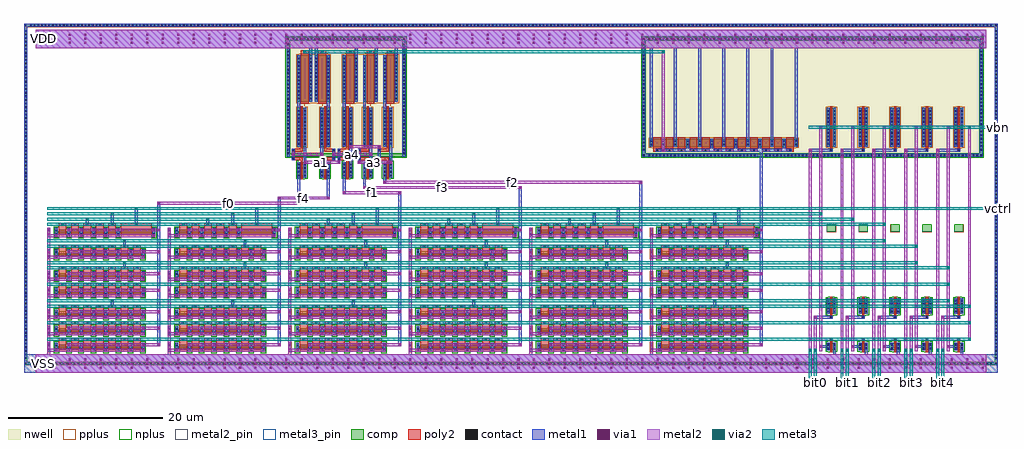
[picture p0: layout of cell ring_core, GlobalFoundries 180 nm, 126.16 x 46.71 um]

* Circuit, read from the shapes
.subckt ring_core VDD VSS a0 a1 a2 a3 a4 bit0 bit1 bit2 bit3 bit4 bitb0 bitb1 bitb2 bitb3 bitb4 f0 f1 f2 f3 f4 vbn vctrl
XM1 f0 vbn VSS VSS nfet_03v3 w=0.25u l=1u m=16
XM2 f0 n1 VSS VSS nfet_03v3 w=0.25u l=1u m=16
XM3 f0 n2 VSS VSS nfet_03v3 w=0.25u l=1u m=8
XM4 f0 n3 VSS VSS nfet_03v3 w=0.25u l=1u m=4
XM5 f0 n4 VSS VSS nfet_03v3 w=0.25u l=1u m=2
XM6 f0 n5 VSS VSS nfet_03v3 w=0.25u l=1u
XM7 VSS vctrl f0 VSS nfet_03v3 w=0.25u l=4u
XM8 f4 vbn VSS VSS nfet_03v3 w=0.25u l=1u m=16
XM9 f4 n1 VSS VSS nfet_03v3 w=0.25u l=1u m=16
XM10 f4 n2 VSS VSS nfet_03v3 w=0.25u l=1u m=8
XM11 f4 n3 VSS VSS nfet_03v3 w=0.25u l=1u m=4
XM12 f4 n4 VSS VSS nfet_03v3 w=0.25u l=1u m=2
XM13 f4 n5 VSS VSS nfet_03v3 w=0.25u l=1u
XM14 VSS vctrl f4 VSS nfet_03v3 w=0.25u l=4u
XM15 f1 vbn VSS VSS nfet_03v3 w=0.25u l=1u m=16
XM16 f1 n1 VSS VSS nfet_03v3 w=0.25u l=1u m=16
XM17 f1 n2 VSS VSS nfet_03v3 w=0.25u l=1u m=8
XM18 f1 n3 VSS VSS nfet_03v3 w=0.25u l=1u m=4
XM19 a1 a0 f0 VSS nfet_03v3 w=2u l=0.28u
XM20 f4 a4 a0 VSS nfet_03v3 w=2u l=0.28u
XM21 f1 n4 VSS VSS nfet_03v3 w=0.25u l=1u m=2
XM22 a2 a1 f1 VSS nfet_03v3 w=2u l=0.28u
XM23 f1 n5 VSS VSS nfet_03v3 w=0.25u l=1u
XM24 VSS vctrl f1 VSS nfet_03v3 w=0.25u l=4u
XM25 a4 a3 f3 VSS nfet_03v3 w=2u l=0.28u
XM26 a3 a2 f2 VSS nfet_03v3 w=2u l=0.28u
XM27 f3 vbn VSS VSS nfet_03v3 w=0.25u l=1u m=16
XM28 f3 n1 VSS VSS nfet_03v3 w=0.25u l=1u m=16
XM29 f3 n2 VSS VSS nfet_03v3 w=0.25u l=1u m=8
XM30 f3 n3 VSS VSS nfet_03v3 w=0.25u l=1u m=4
XM31 f3 n4 VSS VSS nfet_03v3 w=0.25u l=1u m=2
XM32 f3 n5 VSS VSS nfet_03v3 w=0.25u l=1u
XM33 VSS vctrl f3 VSS nfet_03v3 w=0.25u l=4u
XM34 f2 vbn VSS VSS nfet_03v3 w=0.25u l=1u m=16
XM35 f2 n1 VSS VSS nfet_03v3 w=0.25u l=1u m=16
XM36 f2 n2 VSS VSS nfet_03v3 w=0.25u l=1u m=8
XM37 f2 n3 VSS VSS nfet_03v3 w=0.25u l=1u m=4
XM38 f2 n4 VSS VSS nfet_03v3 w=0.25u l=1u m=2
XM39 f2 n5 VSS VSS nfet_03v3 w=0.25u l=1u
XM40 VSS vctrl f2 VSS nfet_03v3 w=0.25u l=4u
XM41 ring_master_10/vbp vbn VSS VSS nfet_03v3 w=0.25u l=1u m=16
XM42 ring_master_10/vbp n1 VSS VSS nfet_03v3 w=0.25u l=1u m=16
XM43 ring_master_10/vbp n2 VSS VSS nfet_03v3 w=0.25u l=1u m=8
XM44 ring_master_10/vbp n3 VSS VSS nfet_03v3 w=0.25u l=1u m=4
XM45 ring_master_10/vbp n4 VSS VSS nfet_03v3 w=0.25u l=1u m=2
XM46 ring_master_10/vbp n5 VSS VSS nfet_03v3 w=0.25u l=1u
XM47 VSS vctrl ring_master_10/vbp VSS nfet_03v3 w=0.25u l=4u
XM48 VSS bitb0 n5 VSS nfet_03v3 w=1u l=0.28u
XM49 vbn bit0 n5 VSS nfet_03v3 w=2u l=0.28u
XM50 VSS bitb1 n4 VSS nfet_03v3 w=1u l=0.28u
XM51 vbn bit1 n4 VSS nfet_03v3 w=2u l=0.28u
XM52 VSS bitb2 n3 VSS nfet_03v3 w=1u l=0.28u
XM53 vbn bit2 n3 VSS nfet_03v3 w=2u l=0.28u
XM54 VSS bitb3 n2 VSS nfet_03v3 w=1u l=0.28u
XM55 vbn bit3 n2 VSS nfet_03v3 w=2u l=0.28u
XM56 VSS bitb4 n1 VSS nfet_03v3 w=1u l=0.28u
XM57 vbn bit4 n1 VSS nfet_03v3 w=2u l=0.28u
XM58 a1 a0 n6 VDD pfet_03v3 w=5u l=0.28u
XM59 VDD ring_master_10/vbp n6 VDD pfet_03v3 w=6u l=1u
XM60 n7 ring_master_10/vbp VDD VDD pfet_03v3 w=6u l=1u
XM61 n7 a4 a0 VDD pfet_03v3 w=5u l=0.28u
XM62 a2 a1 n8 VDD pfet_03v3 w=5u l=0.28u
XM63 VDD ring_master_10/vbp n8 VDD pfet_03v3 w=6u l=1u
XM64 a4 a3 n9 VDD pfet_03v3 w=5u l=0.28u
XM65 VDD ring_master_10/vbp n9 VDD pfet_03v3 w=6u l=1u
XM66 a3 a2 n10 VDD pfet_03v3 w=5u l=0.28u
XM67 VDD ring_master_10/vbp n10 VDD pfet_03v3 w=6u l=1u
XM68 ring_master_10/vbp ring_master_10/vbp VDD VDD pfet_03v3 w=1u l=1u m=12
XM69 vbn bitb0 n5 VDD pfet_03v3 w=5u l=0.28u
XM70 vbn bitb1 n4 VDD pfet_03v3 w=5u l=0.28u
XM71 vbn bitb2 n3 VDD pfet_03v3 w=5u l=0.28u
XM72 vbn bitb3 n2 VDD pfet_03v3 w=5u l=0.28u
XM73 vbn bitb4 n1 VDD pfet_03v3 w=5u l=0.28u
.ends

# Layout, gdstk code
import gdstk
lib = gdstk.Library(unit=1e-6, precision=1e-09)
def R(c, l, rs):  # rectangles x0, y0, x1, y1
    for r in rs: c.add(gdstk.rectangle(r[:2], r[2:], *l))
def A(c, l, x, y, w, h, nx, ny, dx, dy):  # array of equal rectangles
    R(c, l, [(x+i*dx, y+j*dy, x+i*dx+w, y+j*dy+h) for i in range(nx) for j in range(ny)])
nwell = (21, 0)
comp = (22, 0)
poly2 = (30, 0)
pplus = (31, 0)
nplus = (32, 0)
contact = (33, 0)
metal1 = (34, 0)
via1 = (35, 0)
metal2 = (36, 0)
metal2_pin = (36, 10)
via2 = (38, 0)
metal3 = (42, 0)
metal3_pin = (42, 10)

ring_foot = lib.new_cell('ring_foot')
A(ring_foot, comp, 0, 0, 0.38, 1.2, 1, 3, 0, 2.135)
A(ring_foot, comp, 0.98, 0, 0.38, 0.475, 8, 2, 1.6, 0.725)
A(ring_foot, comp, 0.98, 0.475, 11.58, 0.25, 1, 3, 0, 2.135)
A(ring_foot, comp, 0.98, 2.135, 0.38, 0.475, 8, 2, 1.6, 0.725)
A(ring_foot, comp, 0.98, 4.27, 0.38, 0.475, 8, 2, 1.6, 0.725)
A(ring_foot, comp, 0.98, 7.085, 0.38, 0.475, 8, 2, 1.6, 0.725)
A(ring_foot, comp, 0, 9.22, 0.38, 1.2, 1, 3, 0, 2.815)
A(ring_foot, comp, 0.98, 9.22, 0.38, 0.475, 8, 2, 1.6, 0.725)
A(ring_foot, comp, 0.98, 12.035, 0.38, 0.475, 8, 2, 1.6, 0.725)
A(ring_foot, comp, 0.98, 14.85, 0.38, 0.475, 6, 2, 1.6, 0.725)
R(ring_foot, comp, [(0,7.085,0.38,8.285), (0.98,7.56,12.56,7.81), (0.98,9.695,12.56,9.945), (0.98,12.51,12.56,12.76), (13.58,14.85,13.96,15.325), (0.98,15.325,13.96,15.575), (13.58,15.575,13.96,16.05)])
A(ring_foot, poly2, 1.47, 0.245, 1, 1.585, 7, 3, 1.6, 2.135)
A(ring_foot, poly2, 1.47, 7.33, 1, 1.585, 7, 2, 1.6, 2.135)
A(ring_foot, poly2, 1.47, 12.28, 1, 1.585, 7, 1, 1.6, 0)
A(ring_foot, poly2, 1.47, 15.095, 1, 1.585, 5, 1, 1.6, 0)
R(ring_foot, poly2, [(9.47,15.095,13.47,16.68)])
A(ring_foot, pplus, -0.02, -0.025, 0.42, 1.25, 1, 3, 0, 2.135)
A(ring_foot, pplus, -0.02, 9.195, 0.42, 1.25, 1, 3, 0, 2.815)
R(ring_foot, pplus, [(-0.02,7.06,0.4,8.31)])
A(ring_foot, nplus, 0.82, -0.16, 0.7, 0.405, 8, 2, 1.6, 1.115)
A(ring_foot, nplus, 0.82, 0.245, 11.9, 0.71, 1, 3, 0, 2.135)
A(ring_foot, nplus, 0.82, 1.975, 0.7, 0.405, 8, 2, 1.6, 1.115)
A(ring_foot, nplus, 0.82, 4.11, 0.7, 0.405, 8, 2, 1.6, 1.115)
A(ring_foot, nplus, 0.82, 6.925, 0.7, 0.405, 8, 2, 1.6, 1.115)
A(ring_foot, nplus, 0.82, 9.06, 0.7, 0.405, 8, 2, 1.6, 1.115)
A(ring_foot, nplus, 0.82, 11.875, 0.7, 0.405, 8, 2, 1.6, 1.115)
A(ring_foot, nplus, 0.82, 14.69, 0.7, 0.405, 6, 2, 1.6, 1.115)
R(ring_foot, nplus, [(0.82,7.33,12.72,8.04), (0.82,9.465,12.72,10.175), (0.82,12.28,12.72,12.99), (13.42,14.69,14.12,15.095), (0.82,15.095,14.12,15.805), (13.42,15.805,14.12,16.21)])
A(ring_foot, contact, 1.06, 0.255, 0.22, 0.22, 8, 2, 1.6, 0.47)
A(ring_foot, contact, 1.86, 1.535, 0.22, 0.22, 7, 3, 1.6, 2.135)
A(ring_foot, contact, 1.06, 2.39, 0.22, 0.22, 8, 2, 1.6, 0.47)
A(ring_foot, contact, 1.06, 4.525, 0.22, 0.22, 8, 2, 1.6, 0.47)
A(ring_foot, contact, 1.06, 7.34, 0.22, 0.22, 8, 2, 1.6, 0.47)
A(ring_foot, contact, 1.86, 8.62, 0.22, 0.22, 7, 2, 1.6, 2.135)
A(ring_foot, contact, 1.06, 9.475, 0.22, 0.22, 8, 2, 1.6, 0.47)
A(ring_foot, contact, 1.06, 12.29, 0.22, 0.22, 8, 2, 1.6, 0.47)
A(ring_foot, contact, 1.86, 13.57, 0.22, 0.22, 7, 1, 1.6, 0)
A(ring_foot, contact, 1.06, 15.105, 0.22, 0.22, 6, 2, 1.6, 0.47)
A(ring_foot, contact, 1.86, 16.385, 0.22, 0.22, 5, 1, 1.6, 0)
R(ring_foot, contact, [(0.08,0.255,0.3,0.475), (0.08,0.725,0.3,0.945), (0.08,2.39,0.3,2.61), (0.08,2.86,0.3,3.08), (0.08,4.525,0.3,4.745), (0.08,4.995,0.3,5.215), (0.08,7.34,0.3,7.56), (0.08,7.81,0.3,8.03), (0.08,9.475,0.3,9.695), (0.08,9.945,0.3,10.165), (0.08,12.29,0.3,12.51), (0.08,12.76,0.3,12.98), (0.08,15.105,0.3,15.325), (13.66,15.105,13.88,15.325), (0.08,15.575,0.3,15.795), (13.66,15.575,13.88,15.795), (11.36,16.385,11.58,16.605)])
A(ring_foot, metal1, 0, -0.005, 0.38, 1.21, 1, 3, 0, 2.135)
A(ring_foot, metal1, 0.98, -0.005, 0.38, 1.21, 8, 3, 1.6, 2.135)
A(ring_foot, metal1, 0.98, 7.08, 0.38, 1.21, 8, 2, 1.6, 2.135)
A(ring_foot, metal1, 0, 9.215, 0.38, 1.21, 1, 3, 0, 2.815)
A(ring_foot, metal1, 0.98, 12.03, 0.38, 1.21, 8, 1, 1.6, 0)
A(ring_foot, metal1, 0.98, 14.845, 0.38, 1.21, 6, 1, 1.6, 0)
R(ring_foot, metal1, [(14.2,0.715,14.58,16.055), (1.78,1.455,11.76,1.835), (1.78,3.59,11.76,3.97), (1.78,5.725,3.76,6.105), (4.98,5.725,11.76,6.105), (8.18,6.105,8.56,6.785), (0,7.08,0.38,8.29), (1.78,8.54,11.76,8.92), (1.78,10.675,6.96,11.055), (8.18,10.675,11.76,11.055), (9.78,11.055,10.16,11.735), (1.78,13.49,8.56,13.87), (9.78,13.49,11.76,13.87), (9.78,13.87,10.16,14.55), (13.58,14.845,13.96,16.055), (1.78,16.305,3.76,16.685), (4.98,16.305,6.96,16.685), (8.18,16.305,8.56,18.045), (11.28,16.305,11.66,18.725), (4.98,16.685,5.36,17.365)])
A(ring_foot, via1, 1.04, 0.06, 0.26, 0.26, 4, 3, 3.2, 2.135)
A(ring_foot, via1, 2.64, 0.78, 0.26, 0.26, 4, 3, 3.2, 2.135)
A(ring_foot, via1, 14.26, 0.78, 0.26, 0.26, 1, 3, 0, 2.135)
A(ring_foot, via1, 1.04, 7.145, 0.26, 0.26, 4, 2, 3.2, 2.135)
A(ring_foot, via1, 2.64, 7.865, 0.26, 0.26, 4, 2, 3.2, 2.135)
A(ring_foot, via1, 14.26, 10, 0.26, 0.26, 1, 3, 0, 2.815)
A(ring_foot, via1, 1.04, 12.095, 0.26, 0.26, 4, 1, 3.2, 0)
A(ring_foot, via1, 2.64, 12.815, 0.26, 0.26, 4, 1, 3.2, 0)
A(ring_foot, via1, 1.04, 14.91, 0.26, 0.26, 3, 1, 3.2, 0)
A(ring_foot, via1, 2.64, 15.63, 0.26, 0.26, 3, 1, 3.2, 0)
R(ring_foot, via1, [(0.06,0.21,0.32,0.47), (0.06,0.73,0.32,0.99), (6.64,1.515,6.9,1.775), (0.06,2.345,0.32,2.605), (0.06,2.865,0.32,3.125), (6.64,3.65,6.9,3.91), (0.06,4.48,0.32,4.74), (0.06,5,0.32,5.26), (1.84,5.785,2.1,6.045), (8.24,6.465,8.5,6.725), (0.06,7.295,0.32,7.555), (0.06,7.815,0.32,8.075), (14.26,7.865,14.52,8.125), (6.64,8.6,6.9,8.86), (0.06,9.43,0.32,9.69), (0.06,9.95,0.32,10.21), (3.44,10.735,3.7,10.995), (9.84,11.415,10.1,11.675), (0.06,12.245,0.32,12.505), (0.06,12.765,0.32,13.025), (5.04,13.55,5.3,13.81), (9.84,14.23,10.1,14.49), (13.64,14.91,13.9,15.17), (0.06,15.06,0.32,15.32), (0.06,15.58,0.32,15.84), (1.84,16.365,2.1,16.625), (5.04,17.045,5.3,17.305), (8.24,17.725,8.5,17.985), (11.34,18.405,11.6,18.665)])
A(ring_foot, metal2, 0, 0, 12.56, 0.38, 1, 3, 0, 2.135)
A(ring_foot, metal2, 2.58, 0.72, 12, 0.38, 1, 3, 0, 2.135)
A(ring_foot, metal2, 2.58, 9.94, 12, 0.38, 1, 3, 0, 2.815)
R(ring_foot, metal2, [(0,-0.7,0.38,0), (0,0.38,0.38,2.135), (6.58,1.455,6.96,1.835), (0,2.515,0.38,4.27), (6.58,3.59,6.96,3.97), (0,4.65,0.38,7.085), (1.78,5.725,2.16,6.105), (8.18,6.405,8.56,6.785), (0,7.085,12.56,7.465), (0,7.465,0.38,9.22), (2.58,7.805,14.58,8.185), (6.58,8.54,6.96,8.92), (0,9.22,12.56,9.6), (0,9.6,0.38,12.035), (3.38,10.675,3.76,11.055), (9.78,11.355,10.16,11.735), (0,12.035,12.56,12.415), (0,12.415,0.38,14.85), (4.98,13.49,5.36,13.87), (9.78,14.17,10.16,14.55), (0,14.85,13.96,15.23), (0,15.23,0.38,16.05), (1.78,16.305,2.16,16.685), (4.98,16.985,5.36,17.365), (8.18,17.665,8.56,18.045), (11.28,18.345,11.66,18.725)])
R(ring_foot, via2, [(6.64,1.515,6.9,1.775), (6.64,3.65,6.9,3.91), (1.84,5.785,2.1,6.045), (8.24,6.465,8.5,6.725), (6.64,8.6,6.9,8.86), (3.44,10.735,3.7,10.995), (9.84,11.415,10.1,11.675), (5.04,13.55,5.3,13.81), (9.84,14.23,10.1,14.49), (1.84,16.365,2.1,16.625), (5.04,17.045,5.3,17.305), (8.24,17.725,8.5,17.985), (11.34,18.405,11.6,18.665)])
R(ring_foot, metal3, [(6.58,1.455,6.96,1.835), (6.58,3.59,6.96,3.97), (1.78,5.725,2.16,6.105), (8.18,6.405,8.56,6.785), (6.58,8.54,6.96,8.92), (3.38,10.675,3.76,11.055), (9.78,11.355,10.16,11.735), (4.98,13.49,5.36,13.87), (9.78,14.17,10.16,14.55), (1.78,16.305,2.16,16.685), (4.98,16.985,5.36,17.365), (8.18,17.665,8.56,18.045), (11.28,18.345,11.66,18.725)])

ring_inv_m = lib.new_cell('ring_inv_m')
R(ring_inv_m, nwell, [(-1.18,26.535,0,31.535), (-1.18,32.335,0.72,38.335)])
R(ring_inv_m, comp, [(-1.18,22.525,0,24.525), (-1.18,26.535,0,31.535), (-1.18,32.335,0.72,38.335)])
R(ring_inv_m, poly2, [(-0.73,22.295,-0.45,24.785), (-1.875,24.785,-0.45,25.155), (-1.875,25.905,-0.45,26.275), (-0.73,26.275,-0.45,31.765), (-0.73,32.105,0.27,38.965)])
R(ring_inv_m, pplus, [(-0.96,26.305,-0.22,26.375), (-1.34,26.375,0.16,31.695), (-0.96,31.695,-0.22,32.105), (-0.96,32.105,0.5,32.175), (-1.34,32.175,0.88,38.495), (-0.96,38.495,0.5,38.565)])
R(ring_inv_m, nplus, [(-0.96,22.295,-0.22,22.365), (-1.34,22.365,0.16,24.685), (-0.96,24.685,-0.22,24.755)])
A(ring_inv_m, contact, -1.105, 22.71, 0.22, 0.22, 1, 4, 0, 0.47)
A(ring_inv_m, contact, -0.295, 22.71, 0.22, 0.22, 1, 4, 0, 0.47)
A(ring_inv_m, contact, -1.105, 26.81, 0.22, 0.22, 1, 10, 0, 0.47)
A(ring_inv_m, contact, -0.295, 26.81, 0.22, 0.22, 1, 10, 0, 0.47)
A(ring_inv_m, contact, -1.105, 32.64, 0.22, 0.22, 1, 12, 0, 0.47)
A(ring_inv_m, contact, 0.425, 32.64, 0.22, 0.22, 1, 12, 0, 0.47)
R(ring_inv_m, contact, [(-1.8,24.86,-1.58,25.08), (-1.8,25.98,-1.58,26.2), (-0.34,38.67,-0.12,38.89)])
R(ring_inv_m, metal1, [(-1.185,22.52,-0.805,24.53), (-0.375,22.52,0.005,31.54), (-1.88,24.78,-1.5,26.28), (-1.185,26.53,-0.805,38.34), (0.345,32.33,0.725,39.67), (-0.42,38.59,-0.04,38.97)])
R(ring_inv_m, via1, [(-0.36,38.65,-0.1,38.91)])
R(ring_inv_m, metal2, [(-0.42,38.59,-0.04,38.97)])
R(ring_inv_m, via2, [(-0.36,38.65,-0.1,38.91)])
R(ring_inv_m, metal3, [(-0.42,38.59,-0.04,38.97)])

ring_inv = lib.new_cell('ring_inv')
R(ring_inv, nwell, [(0,26.535,1.18,31.535), (-0.72,32.335,1.18,38.335)])
R(ring_inv, comp, [(0,22.525,1.18,24.525), (0,26.535,1.18,31.535), (-0.72,32.335,1.18,38.335)])
R(ring_inv, poly2, [(0.45,22.295,0.73,24.785), (0.45,24.785,1.875,25.155), (0.45,25.905,1.875,26.275), (0.45,26.275,0.73,31.765), (-0.27,32.105,0.73,38.965)])
R(ring_inv, pplus, [(0.22,26.305,0.96,26.375), (-0.16,26.375,1.34,31.695), (0.22,31.695,0.96,32.105), (-0.5,32.105,0.96,32.175), (-0.88,32.175,1.34,38.495), (-0.5,38.495,0.96,38.565)])
R(ring_inv, nplus, [(0.22,22.295,0.96,22.365), (-0.16,22.365,1.34,24.685), (0.22,24.685,0.96,24.755)])
A(ring_inv, contact, 0.075, 22.71, 0.22, 0.22, 1, 4, 0, 0.47)
A(ring_inv, contact, 0.885, 22.71, 0.22, 0.22, 1, 4, 0, 0.47)
A(ring_inv, contact, 0.075, 26.81, 0.22, 0.22, 1, 10, 0, 0.47)
A(ring_inv, contact, 0.885, 26.81, 0.22, 0.22, 1, 10, 0, 0.47)
A(ring_inv, contact, -0.645, 32.64, 0.22, 0.22, 1, 12, 0, 0.47)
A(ring_inv, contact, 0.885, 32.64, 0.22, 0.22, 1, 12, 0, 0.47)
R(ring_inv, contact, [(1.58,24.86,1.8,25.08), (1.58,25.98,1.8,26.2), (0.12,38.67,0.34,38.89)])
R(ring_inv, metal1, [(-0.005,22.52,0.375,31.54), (0.805,22.52,1.185,24.53), (1.5,24.78,1.88,26.28), (0.805,26.53,1.185,38.34), (-0.725,32.33,-0.345,39.67), (0.04,38.59,0.42,38.97)])
R(ring_inv, via1, [(0.1,38.65,0.36,38.91)])
R(ring_inv, metal2, [(0.04,38.59,0.42,38.97)])
R(ring_inv, via2, [(0.1,38.65,0.36,38.91)])
R(ring_inv, metal3, [(0.04,38.59,0.42,38.97)])

ring_master = lib.new_cell('ring_master')
R(ring_master, nwell, [(-0.45,25.105,19.51,40.81)])
A(ring_master, comp, 0, 0, 0.38, 1.2, 1, 3, 0, 2.135)
A(ring_master, comp, 0.98, 0, 0.38, 0.475, 8, 2, 1.6, 0.725)
A(ring_master, comp, 0.98, 0.475, 11.58, 0.25, 1, 3, 0, 2.135)
A(ring_master, comp, 0.98, 2.135, 0.38, 0.475, 8, 2, 1.6, 0.725)
A(ring_master, comp, 0.98, 4.27, 0.38, 0.475, 8, 2, 1.6, 0.725)
A(ring_master, comp, 0.98, 7.085, 0.38, 0.475, 8, 2, 1.6, 0.725)
A(ring_master, comp, 0, 9.22, 0.38, 1.2, 1, 3, 0, 2.815)
A(ring_master, comp, 0.98, 9.22, 0.38, 0.475, 8, 2, 1.6, 0.725)
A(ring_master, comp, 0.98, 12.035, 0.38, 0.475, 8, 2, 1.6, 0.725)
A(ring_master, comp, 0.98, 14.85, 0.38, 0.475, 6, 2, 1.6, 0.725)
R(ring_master, comp, [(0,7.085,0.38,8.285), (0.98,7.56,12.56,7.81), (0.98,9.695,12.56,9.945), (0.98,12.51,12.56,12.76), (13.58,14.85,13.96,15.325), (0.98,15.325,13.96,15.575), (13.58,15.575,13.96,16.05), (0,26.535,19.06,27.535)])
A(ring_master, poly2, 1.47, 0.245, 1, 1.585, 7, 3, 1.6, 2.135)
A(ring_master, poly2, 1.47, 7.33, 1, 1.585, 7, 2, 1.6, 2.135)
A(ring_master, poly2, 1.47, 12.28, 1, 1.585, 7, 1, 1.6, 0)
A(ring_master, poly2, 1.47, 15.095, 1, 1.585, 5, 1, 1.6, 0)
A(ring_master, poly2, 0.45, 25.905, 1, 1.86, 12, 1, 1.56, 0)
R(ring_master, poly2, [(9.47,15.095,13.47,16.68)])
A(ring_master, pplus, -0.02, -0.025, 0.42, 1.25, 1, 3, 0, 2.135)
A(ring_master, pplus, -0.02, 9.195, 0.42, 1.25, 1, 3, 0, 2.815)
R(ring_master, pplus, [(-0.02,7.06,0.4,8.31), (0.22,26.305,18.84,26.375), (-0.16,26.375,19.22,27.695), (0.22,27.695,18.84,27.765)])
A(ring_master, nplus, 0.82, -0.16, 0.7, 0.405, 8, 2, 1.6, 1.115)
A(ring_master, nplus, 0.82, 0.245, 11.9, 0.71, 1, 3, 0, 2.135)
A(ring_master, nplus, 0.82, 1.975, 0.7, 0.405, 8, 2, 1.6, 1.115)
A(ring_master, nplus, 0.82, 4.11, 0.7, 0.405, 8, 2, 1.6, 1.115)
A(ring_master, nplus, 0.82, 6.925, 0.7, 0.405, 8, 2, 1.6, 1.115)
A(ring_master, nplus, 0.82, 9.06, 0.7, 0.405, 8, 2, 1.6, 1.115)
A(ring_master, nplus, 0.82, 11.875, 0.7, 0.405, 8, 2, 1.6, 1.115)
A(ring_master, nplus, 0.82, 14.69, 0.7, 0.405, 6, 2, 1.6, 1.115)
R(ring_master, nplus, [(0.82,7.33,12.72,8.04), (0.82,9.465,12.72,10.175), (0.82,12.28,12.72,12.99), (13.42,14.69,14.12,15.095), (0.82,15.095,14.12,15.805), (13.42,15.805,14.12,16.21)])
A(ring_master, contact, 1.06, 0.255, 0.22, 0.22, 8, 2, 1.6, 0.47)
A(ring_master, contact, 1.86, 1.535, 0.22, 0.22, 7, 3, 1.6, 2.135)
A(ring_master, contact, 1.06, 2.39, 0.22, 0.22, 8, 2, 1.6, 0.47)
A(ring_master, contact, 1.06, 4.525, 0.22, 0.22, 8, 2, 1.6, 0.47)
A(ring_master, contact, 1.06, 7.34, 0.22, 0.22, 8, 2, 1.6, 0.47)
A(ring_master, contact, 1.86, 8.62, 0.22, 0.22, 7, 2, 1.6, 2.135)
A(ring_master, contact, 1.06, 9.475, 0.22, 0.22, 8, 2, 1.6, 0.47)
A(ring_master, contact, 1.06, 12.29, 0.22, 0.22, 8, 2, 1.6, 0.47)
A(ring_master, contact, 1.86, 13.57, 0.22, 0.22, 7, 1, 1.6, 0)
A(ring_master, contact, 1.06, 15.105, 0.22, 0.22, 6, 2, 1.6, 0.47)
A(ring_master, contact, 1.86, 16.385, 0.22, 0.22, 5, 1, 1.6, 0)
A(ring_master, contact, 0.84, 25.98, 0.22, 0.22, 12, 1, 1.56, 0)
A(ring_master, contact, 1.62, 26.69, 0.22, 0.22, 11, 2, 1.56, 0.47)
R(ring_master, contact, [(0.08,0.255,0.3,0.475), (0.08,0.725,0.3,0.945), (0.08,2.39,0.3,2.61), (0.08,2.86,0.3,3.08), (0.08,4.525,0.3,4.745), (0.08,4.995,0.3,5.215), (0.08,7.34,0.3,7.56), (0.08,7.81,0.3,8.03), (0.08,9.475,0.3,9.695), (0.08,9.945,0.3,10.165), (0.08,12.29,0.3,12.51), (0.08,12.76,0.3,12.98), (0.08,15.105,0.3,15.325), (13.66,15.105,13.88,15.325), (0.08,15.575,0.3,15.795), (13.66,15.575,13.88,15.795), (11.36,16.385,11.58,16.605), (0.075,26.69,0.295,26.91), (18.765,26.69,18.985,26.91), (0.075,27.16,0.295,27.38), (18.765,27.16,18.985,27.38)])
A(ring_master, metal1, 0, -0.005, 0.38, 1.21, 1, 3, 0, 2.135)
A(ring_master, metal1, 0.98, -0.005, 0.38, 1.21, 8, 3, 1.6, 2.135)
A(ring_master, metal1, 0.98, 7.08, 0.38, 1.21, 8, 2, 1.6, 2.135)
A(ring_master, metal1, 0, 9.215, 0.38, 1.21, 1, 3, 0, 2.815)
A(ring_master, metal1, 0.98, 12.03, 0.38, 1.21, 8, 1, 1.6, 0)
A(ring_master, metal1, 0.98, 14.845, 0.38, 1.21, 6, 1, 1.6, 0)
A(ring_master, metal1, 1.54, 26.28, 0.38, 1.26, 6, 1, 3.12, 0)
A(ring_master, metal1, 3.1, 26.53, 0.38, 13.14, 5, 1, 3.12, 0)
R(ring_master, metal1, [(14.2,0.715,14.58,25.9), (1.78,1.455,11.76,1.835), (1.78,3.59,11.76,3.97), (1.78,5.725,3.76,6.105), (4.98,5.725,11.76,6.105), (8.18,6.105,8.56,6.785), (0,7.08,0.38,8.29), (1.78,8.54,11.76,8.92), (1.78,10.675,6.96,11.055), (8.18,10.675,11.76,11.055), (9.78,11.055,10.16,11.735), (1.78,13.49,8.56,13.87), (9.78,13.49,11.76,13.87), (9.78,13.87,10.16,14.55), (13.58,14.845,13.96,16.055), (1.78,16.305,3.76,16.685), (4.98,16.305,6.96,16.685), (8.18,16.305,8.56,18.045), (11.28,16.305,11.66,18.725), (4.98,16.685,5.36,17.365), (0.76,25.9,18.3,26.28), (-0.005,26.53,0.375,39.67), (18.685,26.53,19.065,39.67)])
A(ring_master, via1, 1.04, 0.06, 0.26, 0.26, 4, 3, 3.2, 2.135)
A(ring_master, via1, 2.64, 0.78, 0.26, 0.26, 4, 3, 3.2, 2.135)
A(ring_master, via1, 14.26, 0.78, 0.26, 0.26, 1, 3, 0, 2.135)
A(ring_master, via1, 1.04, 7.145, 0.26, 0.26, 4, 2, 3.2, 2.135)
A(ring_master, via1, 2.64, 7.865, 0.26, 0.26, 4, 2, 3.2, 2.135)
A(ring_master, via1, 14.26, 10, 0.26, 0.26, 1, 3, 0, 2.815)
A(ring_master, via1, 1.04, 12.095, 0.26, 0.26, 4, 1, 3.2, 0)
A(ring_master, via1, 2.64, 12.815, 0.26, 0.26, 4, 1, 3.2, 0)
A(ring_master, via1, 1.04, 14.91, 0.26, 0.26, 3, 1, 3.2, 0)
A(ring_master, via1, 2.64, 15.63, 0.26, 0.26, 3, 1, 3.2, 0)
R(ring_master, via1, [(0.06,0.21,0.32,0.47), (0.06,0.73,0.32,0.99), (6.64,1.515,6.9,1.775), (0.06,2.345,0.32,2.605), (0.06,2.865,0.32,3.125), (6.64,3.65,6.9,3.91), (0.06,4.48,0.32,4.74), (0.06,5,0.32,5.26), (1.84,5.785,2.1,6.045), (8.24,6.465,8.5,6.725), (0.06,7.295,0.32,7.555), (0.06,7.815,0.32,8.075), (14.26,7.865,14.52,8.125), (6.64,8.6,6.9,8.86), (0.06,9.43,0.32,9.69), (0.06,9.95,0.32,10.21), (3.44,10.735,3.7,10.995), (9.84,11.415,10.1,11.675), (0.06,12.245,0.32,12.505), (0.06,12.765,0.32,13.025), (5.04,13.55,5.3,13.81), (9.84,14.23,10.1,14.49), (13.64,14.91,13.9,15.17), (0.06,15.06,0.32,15.32), (0.06,15.58,0.32,15.84), (1.84,16.365,2.1,16.625), (5.04,17.045,5.3,17.305), (8.24,17.725,8.5,17.985), (11.34,18.405,11.6,18.665), (1.6,25.96,1.86,26.22)])
A(ring_master, metal2, 0, 0, 12.56, 0.38, 1, 3, 0, 2.135)
A(ring_master, metal2, 2.58, 0.72, 12, 0.38, 1, 3, 0, 2.135)
A(ring_master, metal2, 2.58, 9.94, 12, 0.38, 1, 3, 0, 2.815)
R(ring_master, metal2, [(0,-0.7,0.38,0), (0,0.38,0.38,2.135), (6.58,1.455,6.96,1.835), (0,2.515,0.38,4.27), (6.58,3.59,6.96,3.97), (0,4.65,0.38,7.085), (1.78,5.725,2.16,6.105), (8.18,6.405,8.56,6.785), (0,7.085,12.56,7.465), (0,7.465,0.38,9.22), (2.58,7.805,14.58,8.185), (6.58,8.54,6.96,8.92), (0,9.22,12.56,9.6), (0,9.6,0.38,12.035), (3.38,10.675,3.76,11.055), (9.78,11.355,10.16,11.735), (0,12.035,12.56,12.415), (0,12.415,0.38,14.85), (4.98,13.49,5.36,13.87), (9.78,14.17,10.16,14.55), (0,14.85,13.96,15.23), (0,15.23,0.38,16.05), (1.78,16.305,2.16,16.685), (4.98,16.985,5.36,17.365), (8.18,17.665,8.56,18.045), (11.28,18.345,11.66,18.725), (1.54,25.9,1.92,38.97)])
R(ring_master, via2, [(6.64,1.515,6.9,1.775), (6.64,3.65,6.9,3.91), (1.84,5.785,2.1,6.045), (8.24,6.465,8.5,6.725), (6.64,8.6,6.9,8.86), (3.44,10.735,3.7,10.995), (9.84,11.415,10.1,11.675), (5.04,13.55,5.3,13.81), (9.84,14.23,10.1,14.49), (1.84,16.365,2.1,16.625), (5.04,17.045,5.3,17.305), (8.24,17.725,8.5,17.985), (11.34,18.405,11.6,18.665), (1.6,38.65,1.86,38.91)])
R(ring_master, metal3, [(6.58,1.455,6.96,1.835), (6.58,3.59,6.96,3.97), (1.78,5.725,2.16,6.105), (8.18,6.405,8.56,6.785), (6.58,8.54,6.96,8.92), (3.38,10.675,3.76,11.055), (9.78,11.355,10.16,11.735), (4.98,13.49,5.36,13.87), (9.78,14.17,10.16,14.55), (1.78,16.305,2.16,16.685), (4.98,16.985,5.36,17.365), (8.18,17.665,8.56,18.045), (11.28,18.345,11.66,18.725), (1.54,38.59,1.92,38.97)])
ring_master.add(gdstk.Label('vbp', (1.73,38.78), layer=42, texttype=0))

ring_sw = lib.new_cell('ring_sw')
R(ring_sw, nwell, [(-0.45,25.105,21.43,40.81)])
A(ring_sw, comp, 2.34, 0.2, 1.18, 1, 5, 2, 4.12, 15.31)
A(ring_sw, comp, 2.34, 4.915, 1.18, 2, 5, 1, 4.12, 0)
A(ring_sw, comp, 2.34, 26.535, 1.18, 5, 5, 1, 4.12, 0)
A(ring_sw, poly2, 2.79, -0.03, 0.28, 1.49, 5, 1, 4.12, 0)
A(ring_sw, poly2, 2.745, 1.46, 0.37, 0.37, 5, 2, 4.12, 2.825)
A(ring_sw, poly2, 2.79, 4.655, 0.28, 2.49, 5, 1, 4.12, 0)
A(ring_sw, poly2, 2.745, 25.905, 0.37, 0.37, 5, 1, 4.12, 0)
A(ring_sw, poly2, 2.79, 26.275, 0.28, 5.49, 5, 1, 4.12, 0)
A(ring_sw, pplus, 2.32, 15.49, 1.22, 1.04, 5, 1, 4.12, 0)
A(ring_sw, pplus, 2.56, 26.305, 0.74, 0.07, 5, 2, 4.12, 5.39)
A(ring_sw, pplus, 2.18, 26.375, 1.5, 5.32, 5, 1, 4.12, 0)
A(ring_sw, nplus, 2.56, -0.03, 0.74, 0.07, 5, 2, 4.12, 1.39)
A(ring_sw, nplus, 2.18, 0.04, 1.5, 1.32, 5, 1, 4.12, 0)
A(ring_sw, nplus, 2.56, 4.685, 0.74, 0.07, 5, 2, 4.12, 2.39)
A(ring_sw, nplus, 2.18, 4.755, 1.5, 2.32, 5, 1, 4.12, 0)
A(ring_sw, contact, 2.82, 1.535, 0.22, 0.22, 5, 2, 4.12, 2.825)
A(ring_sw, contact, 2.415, 5.1, 0.22, 0.22, 1, 4, 0, 0.47)
A(ring_sw, contact, 3.225, 5.1, 0.22, 0.22, 1, 4, 0, 0.47)
A(ring_sw, contact, 6.535, 5.1, 0.22, 0.22, 1, 4, 0, 0.47)
A(ring_sw, contact, 7.345, 5.1, 0.22, 0.22, 1, 4, 0, 0.47)
A(ring_sw, contact, 10.655, 5.1, 0.22, 0.22, 1, 4, 0, 0.47)
A(ring_sw, contact, 11.465, 5.1, 0.22, 0.22, 1, 4, 0, 0.47)
A(ring_sw, contact, 14.775, 5.1, 0.22, 0.22, 1, 4, 0, 0.47)
A(ring_sw, contact, 15.585, 5.1, 0.22, 0.22, 1, 4, 0, 0.47)
A(ring_sw, contact, 18.895, 5.1, 0.22, 0.22, 1, 4, 0, 0.47)
A(ring_sw, contact, 19.705, 5.1, 0.22, 0.22, 1, 4, 0, 0.47)
A(ring_sw, contact, 2.82, 25.98, 0.22, 0.22, 5, 1, 4.12, 0)
A(ring_sw, contact, 2.415, 26.81, 0.22, 0.22, 1, 10, 0, 0.47)
A(ring_sw, contact, 3.225, 26.81, 0.22, 0.22, 1, 10, 0, 0.47)
A(ring_sw, contact, 6.535, 26.81, 0.22, 0.22, 1, 10, 0, 0.47)
A(ring_sw, contact, 7.345, 26.81, 0.22, 0.22, 1, 10, 0, 0.47)
A(ring_sw, contact, 10.655, 26.81, 0.22, 0.22, 1, 10, 0, 0.47)
A(ring_sw, contact, 11.465, 26.81, 0.22, 0.22, 1, 10, 0, 0.47)
A(ring_sw, contact, 14.775, 26.81, 0.22, 0.22, 1, 10, 0, 0.47)
A(ring_sw, contact, 15.585, 26.81, 0.22, 0.22, 1, 10, 0, 0.47)
A(ring_sw, contact, 18.895, 26.81, 0.22, 0.22, 1, 10, 0, 0.47)
A(ring_sw, contact, 19.705, 26.81, 0.22, 0.22, 1, 10, 0, 0.47)
R(ring_sw, contact, [(2.415,0.355,2.635,0.575), (3.225,0.355,3.445,0.575), (6.535,0.355,6.755,0.575), (7.345,0.355,7.565,0.575), (10.655,0.355,10.875,0.575), (11.465,0.355,11.685,0.575), (14.775,0.355,14.995,0.575), (15.585,0.355,15.805,0.575), (18.895,0.355,19.115,0.575), (19.705,0.355,19.925,0.575), (2.415,0.825,2.635,1.045), (3.225,0.825,3.445,1.045), (6.535,0.825,6.755,1.045), (7.345,0.825,7.565,1.045), (10.655,0.825,10.875,1.045), (11.465,0.825,11.685,1.045), (14.775,0.825,14.995,1.045), (15.585,0.825,15.805,1.045), (18.895,0.825,19.115,1.045), (19.705,0.825,19.925,1.045)])
A(ring_sw, metal1, 3.145, -0.7, 0.38, 1.905, 5, 1, 4.12, 0)
A(ring_sw, metal1, 2.335, 0.195, 0.38, 0.315, 5, 2, 4.12, 0.695)
A(ring_sw, metal1, 1.36, 0.51, 1.355, 0.38, 5, 2, 4.12, 5.215)
A(ring_sw, metal1, 0, 1.455, 3.12, 0.38, 5, 2, 4.12, 24.445)
A(ring_sw, metal1, 0.68, 4.28, 2.44, 0.38, 5, 1, 4.12, 0)
A(ring_sw, metal1, 2.335, 4.91, 0.38, 0.815, 5, 2, 4.12, 1.195)
A(ring_sw, metal1, 3.145, 4.91, 0.38, 2.01, 5, 1, 4.12, 0)
A(ring_sw, metal1, 2.335, 26.53, 0.38, 2.315, 5, 2, 4.12, 2.695)
A(ring_sw, metal1, 3.145, 26.53, 0.38, 5.01, 5, 1, 4.12, 0)
A(ring_sw, metal1, 1.36, 28.845, 1.355, 0.38, 5, 1, 4.12, 0)
A(ring_sw, via1, 1.42, 0.57, 0.26, 0.26, 5, 1, 4.12, 0)
A(ring_sw, via1, 0.06, 1.515, 0.26, 0.26, 5, 2, 4.12, 24.445)
A(ring_sw, via1, 0.74, 4.34, 0.26, 0.26, 5, 1, 4.12, 0)
R(ring_sw, via1, [(1.42,5.785,1.68,6.045), (3.205,5.785,3.465,6.045), (5.54,5.785,5.8,6.045), (7.325,5.785,7.585,6.045), (9.66,5.785,9.92,6.045), (11.445,5.785,11.705,6.045), (13.78,5.785,14.04,6.045), (15.565,5.785,15.825,6.045), (17.9,5.785,18.16,6.045), (19.685,5.785,19.945,6.045), (1.42,28.905,1.68,29.165), (3.205,28.905,3.465,29.165), (5.54,28.905,5.8,29.165), (7.325,28.905,7.585,29.165), (9.66,28.905,9.92,29.165), (11.445,28.905,11.705,29.165), (13.78,28.905,14.04,29.165), (15.565,28.905,15.825,29.165), (17.9,28.905,18.16,29.165), (19.685,28.905,19.945,29.165)])
A(ring_sw, metal2, 0, 0, 0.38, 26.28, 5, 1, 4.12, 0)
A(ring_sw, metal2, 0.68, 0, 0.38, 4.66, 5, 1, 4.12, 0)
A(ring_sw, metal2, 1.36, 0.08, 0.38, 29.145, 5, 1, 4.12, 0)
A(ring_sw, metal2, 3.145, 5.725, 0.38, 0.38, 5, 2, 4.12, 23.12)
R(ring_sw, metal2, [(20.6,1.455,20.98,29.225)])
A(ring_sw, via2, 20.66, 1.515, 0.26, 0.26, 1, 3, 0, 2.135)
A(ring_sw, via2, 3.205, 5.785, 0.26, 0.26, 5, 2, 4.12, 23.12)
A(ring_sw, via2, 17.9, 6.465, 0.26, 0.26, 1, 3, 0, 2.135)
R(ring_sw, via2, [(0.06,0.06,0.32,0.32), (0.74,0.06,1,0.32), (4.18,0.06,4.44,0.32), (4.86,0.06,5.12,0.32), (8.3,0.06,8.56,0.32), (8.98,0.06,9.24,0.32), (12.42,0.06,12.68,0.32), (13.1,0.06,13.36,0.32), (16.54,0.06,16.8,0.32), (17.22,0.06,17.48,0.32), (13.78,11.415,14.04,11.675), (13.78,13.55,14.04,13.81), (9.66,14.23,9.92,14.49), (9.66,16.365,9.92,16.625), (5.54,17.045,5.8,17.305), (1.42,17.725,1.68,17.985), (20.66,28.905,20.92,29.165)])
A(ring_sw, metal3, 20.6, 1.455, 0.38, 0.38, 1, 3, 0, 2.135)
A(ring_sw, metal3, 3.145, 5.725, 0.38, 0.38, 5, 1, 4.12, 0)
A(ring_sw, metal3, 17.84, 6.405, 0.38, 0.38, 1, 3, 0, 2.135)
R(ring_sw, metal3, [(0,0,0.38,0.38), (0.68,0,1.06,0.38), (4.12,0,4.5,0.38), (4.8,0,5.18,0.38), (8.24,0,8.62,0.38), (8.92,0,9.3,0.38), (12.36,0,12.74,0.38), (13.04,0,13.42,0.38), (16.48,0,16.86,0.38), (17.16,0,17.54,0.38), (13.72,11.355,14.1,11.735), (13.72,13.49,14.1,13.87), (9.6,14.17,9.98,14.55), (9.6,16.305,9.98,16.685), (5.48,16.985,5.86,17.365), (1.36,17.665,1.74,18.045), (0,28.845,20.98,29.225)])

ring_core = lib.new_cell('ring_core')
R(ring_core, nwell, [(30.78,25.105,46.44,40.81), (76.77,25.105,121.04,40.81)])
R(ring_core, comp, [(-3,-1.69,122.84,-1.31), (-3,-1.31,-2.62,42.01), (122.46,-1.31,122.84,42.01), (30.93,25.255,46.29,25.635), (76.92,25.255,120.89,25.635), (30.93,25.635,31.31,40.28), (45.91,25.635,46.29,40.28), (76.92,25.635,77.3,40.28), (120.51,25.635,120.89,40.28), (30.93,40.28,46.29,40.66), (76.92,40.28,120.89,40.66), (-3,42.01,122.84,42.39)])
R(ring_core, pplus, [(-3.02,-1.71,122.86,-1.29), (-3.02,-1.29,-2.6,41.99), (122.44,-1.29,122.86,41.99), (34.37,32.175,34.43,38.495), (40.27,32.175,40.65,38.495), (42.87,32.175,43.25,38.495), (-3.02,41.99,122.86,42.41)])
A(ring_core, nplus, 38.43, 24.755, 0.74, 0.34, 3, 1, 2.6, 0)
R(ring_core, nplus, [(32.53,24.755,33.27,25.095), (35.53,24.755,36.27,25.095), (30.77,25.095,46.45,25.695), (76.76,25.095,121.05,25.695), (30.77,25.695,31.37,40.22), (45.85,25.695,46.45,40.22), (76.76,25.695,77.36,40.22), (120.45,25.695,121.05,40.22), (30.77,40.22,46.45,40.82), (76.76,40.22,121.05,40.82)])
A(ring_core, contact, -2.23, -1.61, 0.22, 0.22, 265, 2, 0.47, 43.7)
A(ring_core, contact, -2.92, -0.91, 0.22, 0.22, 1, 91, 0, 0.47)
A(ring_core, contact, 122.54, -0.91, 0.22, 0.22, 1, 91, 0, 0.47)
A(ring_core, contact, 77.7, 25.335, 0.22, 0.22, 30, 1, 0.47, 0)
A(ring_core, contact, 92.83, 25.335, 0.22, 0.22, 59, 1, 0.47, 0)
A(ring_core, contact, 31.01, 25.56, 0.22, 0.22, 1, 31, 0, 0.47)
A(ring_core, contact, 45.99, 25.56, 0.22, 0.22, 1, 31, 0, 0.47)
A(ring_core, contact, 77, 26.03, 0.22, 0.22, 1, 30, 0, 0.47)
A(ring_core, contact, 120.59, 26.03, 0.22, 0.22, 1, 30, 0, 0.47)
A(ring_core, contact, 31.685, 40.36, 0.22, 0.22, 30, 1, 0.47, 0)
A(ring_core, contact, 77.645, 40.36, 0.22, 0.22, 91, 1, 0.47, 0)
R(ring_core, contact, [(-2.92,-1.61,-2.7,-1.39), (122.54,-1.61,122.76,-1.39), (77,25.335,77.22,25.555), (120.59,25.335,120.81,25.555), (31.01,40.36,31.23,40.58), (45.99,40.36,46.21,40.58), (77,40.36,77.22,40.58), (120.59,40.36,120.81,40.58), (-2.92,42.09,-2.7,42.31), (122.54,42.09,122.76,42.31)])
R(ring_core, metal1, [(-3.005,-2.7,122.845,-0.3), (-3.005,-0.3,-2.615,42.005), (122.455,-0.3,122.845,42.005), (14.2,16.05,14.58,19.405), (29.78,16.05,30.16,20.085), (45.36,16.05,45.74,20.765), (60.94,16.05,61.32,21.445), (76.52,16.05,76.9,22.125), (32.305,19.025,32.685,22.825), (36.115,19.705,36.495,22.825), (38.205,20.385,38.585,22.825), (40.805,21.065,41.185,22.825), (43.405,21.745,43.785,22.825), (33.115,24.34,33.495,24.72), (37.51,24.34,37.89,26.28), (40.11,24.34,40.49,26.28), (44.215,24.34,44.595,24.72), (31.61,24.78,31.99,26.28), (36.81,24.78,37.19,26.28), (42.71,24.78,43.09,26.72), (30.925,25.25,31.315,39.27), (45.905,25.25,46.295,39.27), (76.915,25.25,91.86,25.64), (92.72,25.25,120.895,25.64), (35.305,25.34,35.685,25.72), (41.615,25.34,41.995,25.72), (76.915,25.64,77.305,39.27), (120.505,25.64,120.895,39.27), (39.015,26.34,39.395,26.72), (-1.5,39.27,121.34,41.67), (-3.005,42.005,122.845,42.395)])
A(ring_core, via1, -1.23, -2.15, 0.26, 0.26, 62, 3, 2, 0.52)
A(ring_core, via1, -1.23, 39.82, 0.26, 0.26, 62, 3, 2, 0.52)
R(ring_core, via1, [(14.26,19.085,14.52,19.345), (32.365,19.085,32.625,19.345), (29.84,19.765,30.1,20.025), (36.175,19.765,36.435,20.025), (38.265,20.445,38.525,20.705), (45.42,20.445,45.68,20.705), (40.865,21.125,41.125,21.385), (61,21.125,61.26,21.385), (43.465,21.805,43.725,22.065), (76.58,21.805,76.84,22.065), (33.175,24.4,33.435,24.66), (37.57,24.4,37.83,24.66), (40.17,24.4,40.43,24.66), (44.275,24.4,44.535,24.66), (31.67,25.4,31.93,25.66), (35.365,25.4,35.625,25.66), (36.87,25.4,37.13,25.66), (41.675,25.4,41.935,25.66), (39.075,26.4,39.335,26.66), (42.77,26.4,43.03,26.66)])
R(ring_core, metal2, [(-1.5,-2.7,121.34,-0.3), (14.2,19.025,32.685,19.405), (29.78,19.705,36.495,20.085), (38.205,20.385,45.74,20.765), (40.805,21.065,61.32,21.445), (43.405,21.745,76.9,22.125), (33.115,24.34,37.89,24.72), (40.11,24.34,44.595,24.72), (31.61,25.34,35.685,25.72), (36.81,25.34,41.995,25.72), (39.015,26.34,43.09,26.72), (-1.5,39.27,121.34,41.67)])
R(ring_core, metal2_pin, [(-0.55,-1.55,-0.45,-1.45), (35.45,24.48,35.55,24.58), (42.3,24.48,42.4,24.58), (33.59,25.48,33.69,25.58), (39.35,25.48,39.45,25.58), (41,26.48,41.1,26.58), (-0.55,40.42,-0.45,40.52)])
A(ring_core, metal3, 0, 1.455, 119.39, 0.38, 1, 3, 0, 2.135)
A(ring_core, metal3, 0, 6.405, 116.63, 0.38, 1, 3, 0, 2.135)
R(ring_core, metal3, [(98.41,-4.3,98.79,0.38), (99.09,-4.3,99.47,0.38), (102.53,-4.3,102.91,0.38), (103.21,-4.3,103.59,0.38), (106.65,-4.3,107.03,0.38), (107.33,-4.3,107.71,0.38), (110.77,-4.3,111.15,0.38), (111.45,-4.3,111.83,0.38), (114.89,-4.3,115.27,0.38), (115.57,-4.3,115.95,0.38), (0,11.355,112.51,11.735), (0,13.49,112.51,13.87), (0,14.17,108.39,14.55), (0,16.305,108.39,16.685), (0,16.985,104.27,17.365), (0,17.665,100.15,18.045), (0,18.345,123.14,18.725), (119.2,28.845,123.14,29.225), (33.07,38.59,79.82,38.97)])
R(ring_core, metal3_pin, [(98.55,-4.05,98.65,-3.95), (99.23,-4.05,99.33,-3.95), (102.67,-4.05,102.77,-3.95), (103.35,-4.05,103.45,-3.95), (106.79,-4.05,106.89,-3.95), (107.47,-4.05,107.57,-3.95), (110.91,-4.05,111.01,-3.95), (111.59,-4.05,111.69,-3.95), (115.03,-4.05,115.13,-3.95), (115.71,-4.05,115.81,-3.95), (122.89,18.485,122.99,18.585), (122.89,28.985,122.99,29.085)])
ring_core.add(gdstk.Reference(ring_foot, (0,0)))
ring_core.add(gdstk.Reference(ring_foot, (15.58,0)))
ring_core.add(gdstk.Reference(ring_inv_m, (44.59,0)))
ring_core.add(gdstk.Reference(ring_inv_m, (41.99,0)))
ring_core.add(gdstk.Reference(ring_foot, (31.16,0)))
ring_core.add(gdstk.Reference(ring_inv_m, (33.49,0)))
ring_core.add(gdstk.Reference(ring_inv, (35.31,0)))
ring_core.add(gdstk.Reference(ring_inv_m, (39.39,0)))
ring_core.add(gdstk.Reference(ring_foot, (46.74,0)))
ring_core.add(gdstk.Reference(ring_foot, (62.32,0)))
ring_core.add(gdstk.Reference(ring_master, (77.9,0)))
ring_core.add(gdstk.Reference(ring_sw, (98.41,0)))
ring_core.add(gdstk.Label('f0', (23.44,19.215), layer=36, texttype=0))
ring_core.add(gdstk.Label('f4', (33.13,19.895), layer=36, texttype=0))
ring_core.add(gdstk.Label('f1', (41.97,20.575), layer=36, texttype=0))
ring_core.add(gdstk.Label('f3', (51.06,21.255), layer=36, texttype=0))
ring_core.add(gdstk.Label('f2', (60.15,21.935), layer=36, texttype=0))
ring_core.add(gdstk.Label('a4', (39.4,25.53), layer=36, texttype=10))
ring_core.add(gdstk.Label('a1', (35.5,24.53), layer=36, texttype=10))
ring_core.add(gdstk.Label('a3', (42.35,24.53), layer=36, texttype=10))
ring_core.add(gdstk.Label('a0', (33.64,25.53), layer=36, texttype=10))
ring_core.add(gdstk.Label('a2', (41.05,26.53), layer=36, texttype=10))
ring_core.add(gdstk.Label('VSS', (-0.5,-1.5), layer=36, texttype=10))
ring_core.add(gdstk.Label('VDD', (-0.5,40.47), layer=36, texttype=10))
ring_core.add(gdstk.Label('bit0', (99.28,-4), layer=42, texttype=10))
ring_core.add(gdstk.Label('bitb0', (98.6,-4), layer=42, texttype=10))
ring_core.add(gdstk.Label('bit1', (103.4,-4), layer=42, texttype=10))
ring_core.add(gdstk.Label('bitb1', (102.72,-4), layer=42, texttype=10))
ring_core.add(gdstk.Label('bit2', (107.52,-4), layer=42, texttype=10))
ring_core.add(gdstk.Label('bitb2', (106.84,-4), layer=42, texttype=10))
ring_core.add(gdstk.Label('bit3', (111.64,-4), layer=42, texttype=10))
ring_core.add(gdstk.Label('bitb3', (110.96,-4), layer=42, texttype=10))
ring_core.add(gdstk.Label('bit4', (115.76,-4), layer=42, texttype=10))
ring_core.add(gdstk.Label('bitb4', (115.08,-4), layer=42, texttype=10))
ring_core.add(gdstk.Label('vctrl', (122.94,18.535), layer=42, texttype=10))
ring_core.add(gdstk.Label('vbn', (122.94,29.035), layer=42, texttype=10))

lib.write_gds('ring_core.gds')
